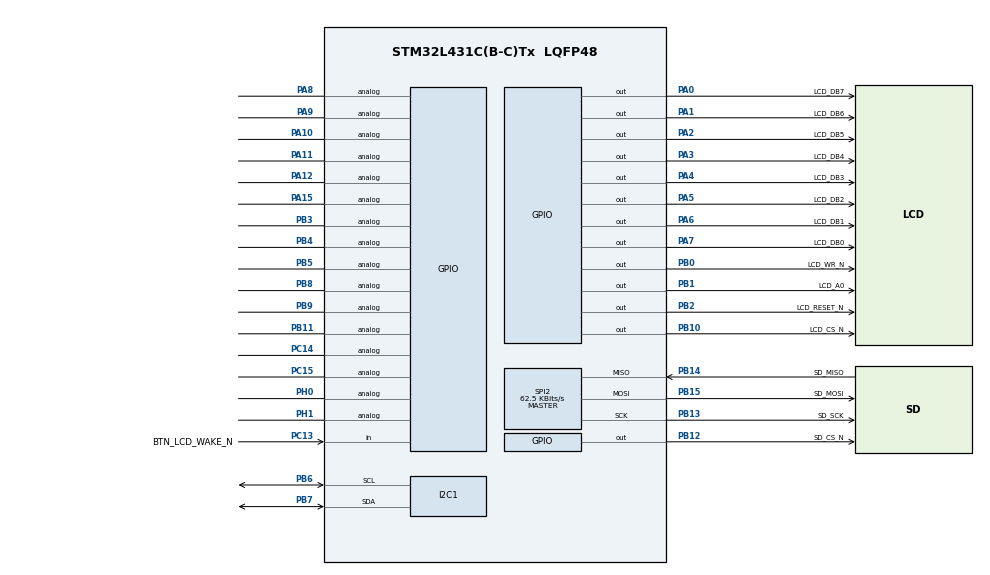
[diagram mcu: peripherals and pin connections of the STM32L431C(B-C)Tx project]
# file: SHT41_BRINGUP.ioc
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I2C1.Timing=0x00100D14
Mcu.Family=STM32L4
Mcu.Name=STM32L431C(B-C)Tx
Mcu.Package=LQFP48
NVIC.PriorityGroup=NVIC_PRIORITYGROUP_4
PA0.GPIO_Label=LCD_DB7
PA0.GPIO_ModeDefaultOutputPP=GPIO_MODE_OUTPUT_PP
PA0.Signal=GPIO_Output
PA1.GPIO_Label=LCD_DB6
PA1.Signal=GPIO_Output
PA10.Signal=GPIO_Analog
PA11.Signal=GPIO_Analog
PA12.Signal=GPIO_Analog
PA13\ (JTMS-SWDIO).Mode=Serial_Wire
PA13\ (JTMS-SWDIO).Signal=SYS_JTMS-SWDIO
PA14\ (JTCK-SWCLK).Mode=Serial_Wire
PA14\ (JTCK-SWCLK).Signal=SYS_JTCK-SWCLK
PA15\ (JTDI).Signal=GPIO_Analog
PA2.GPIO_Label=LCD_DB5
PA2.Signal=GPIO_Output
PA3.GPIO_Label=LCD_DB4
PA3.Signal=GPIO_Output
PA4.GPIO_Label=LCD_DB3
PA4.Signal=GPIO_Output
PA5.GPIO_Label=LCD_DB2
PA5.Signal=GPIO_Output
PA6.GPIO_Label=LCD_DB1
PA6.Signal=GPIO_Output
PA7.GPIO_Label=LCD_DB0
PA7.Signal=GPIO_Output
PA8.Signal=GPIO_Analog
PA9.Signal=GPIO_Analog
PB0.GPIO_Label=LCD_WR_N
PB0.PinState=GPIO_PIN_SET
PB0.Signal=GPIO_Output
PB1.GPIO_Label=LCD_A0
PB1.Signal=GPIO_Output
PB10.GPIO_Label=LCD_CS_N
PB10.PinState=GPIO_PIN_SET
PB10.Signal=GPIO_Output
PB11.Signal=GPIO_Analog
PB12.GPIO_Label=SD_CS_N
PB12.GPIO_PuPd=GPIO_PULLUP
PB12.PinState=GPIO_PIN_SET
PB12.Signal=GPIO_Output
PB13.GPIO_Label=SD_SCK
PB13.Mode=Full_Duplex_Master
PB13.Signal=SPI2_SCK
PB14.GPIO_Label=SD_MISO
PB14.GPIO_PuPd=GPIO_PULLUP
PB14.Mode=Full_Duplex_Master
PB14.Signal=SPI2_MISO
PB15.GPIO_Label=SD_MOSI
PB15.GPIO_PuPd=GPIO_PULLUP
PB15.Mode=Full_Duplex_Master
PB15.Signal=SPI2_MOSI
PB2.GPIO_Label=LCD_RESET_N
PB2.PinState=GPIO_PIN_SET
PB2.Signal=GPIO_Output
PB3\ (JTDO-TRACESWO).Signal=GPIO_Analog
PB4\ (NJTRST).Signal=GPIO_Analog
PB5.Signal=GPIO_Analog
PB6.Mode=I2C
PB6.Signal=I2C1_SCL
PB7.Mode=I2C
PB7.Signal=I2C1_SDA
PB8.Signal=GPIO_Analog
PB9.Signal=GPIO_Analog
PC13.GPIO_Label=BTN_LCD_WAKE_N
PC13.GPIO_PuPd=GPIO_PULLUP
PC13.Signal=GPIO_Input
PC14-OSC32_IN\ (PC14).Signal=GPIO_Analog
PC15-OSC32_OUT\ (PC15).Signal=GPIO_Analog
PH0-OSC_IN\ (PH0).Signal=GPIO_Analog
PH1-OSC_OUT\ (PH1).Signal=GPIO_Analog
ProjectManager.HeapSize=0x200
ProjectManager.StackSize=0x400
ProjectManager.TargetToolchain=STM32CubeIDE
RCC.HSE_VALUE=8000000
RCC.HSI48_VALUE=48000000
RCC.HSI_VALUE=16000000
RCC.LSE_VALUE=32768
RCC.MSI_VALUE=4000000
RCC.VCOOutputFreq_Value=32000000
RTC.Date=2
RTC.Month=RTC_MONTH_AUGUST
RTC.SynchPrediv=249
RTC.WeekDay=RTC_WEEKDAY_SUNDAY
SPI2.BaudRatePrescaler=SPI_BAUDRATEPRESCALER_64
SPI2.CalculateBaudRate=62.5 KBits/s
SPI2.DataSize=SPI_DATASIZE_8BIT
SPI2.Direction=SPI_DIRECTION_2LINES
SPI2.Mode=SPI_MODE_MASTER
SPI2.VirtualType=VM_MASTER
VP_FATFS_VS_Generic.Mode=User_defined
VP_RTC_VS_RTC_Activate.Mode=RTC_Enabled
VP_RTC_VS_RTC_Calendar.Mode=RTC_Calendar
board=custom

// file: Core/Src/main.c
/* USER CODE BEGIN Header */
/**
  ******************************************************************************
  * @file           : main.c
  * @brief          : Main program body
  ******************************************************************************
  */
/* USER CODE END Header */
#include "main.h"
#include "fatfs.h"

/* USER CODE BEGIN Includes */

#include <string.h>
#include <stdio.h>
#include <stdlib.h>

/* USER CODE END Includes */

/* USER CODE BEGIN PD */

#define RTC_BKP_MAGIC 0x32F2U
#define LOG_INTERVAL_MS 5000U
#define BUTTON_DEBOUNCE_MS 30U

/* USER CODE END PD */

I2C_HandleTypeDef hi2c1;

RTC_HandleTypeDef hrtc;

SPI_HandleTypeDef hspi2;

/* USER CODE BEGIN PV */

volatile FRESULT mount_res = 99;
volatile FRESULT open_res  = 99;
volatile FRESULT write_res = 99;
volatile FRESULT sync_res  = 99;
volatile FRESULT close_res = 99;
volatile uint8_t logging_enabled = 0;
volatile GPIO_PinState button_state_dbg = GPIO_PIN_SET;
volatile uint32_t button_press_count = 0;

uint32_t last_sample_ms = 0;

volatile HAL_StatusTypeDef sht_res = HAL_ERROR;
volatile int temp_x100_dbg = 0;
volatile int rh_x100_dbg = 0;
volatile uint32_t sample_count = 0;

UINT bytes_written = 0;
FIL file;

GPIO_PinState button_raw = GPIO_PIN_SET;
GPIO_PinState button_stable = GPIO_PIN_SET;
GPIO_PinState button_last_raw = GPIO_PIN_SET;

uint32_t button_change_ms = 0;

/* USER CODE END PV */

void SystemClock_Config(void);
static void MX_GPIO_Init(void);
static void MX_SPI2_Init(void);
static void MX_I2C1_Init(void);
static void MX_RTC_Init(void);
/* USER CODE BEGIN PFP */

static HAL_StatusTypeDef SHT41_Read(float *temp_c, float *rh_pct);
static void LogSampleToSD(void);

/* USER CODE END PFP */

/* USER CODE BEGIN 0 */

#define SHT41_ADDR (0x44 << 1)

static HAL_StatusTypeDef SHT41_Read(float *temp_c, float *rh_pct)
{
    uint8_t cmd = 0xFD;
    uint8_t rx[6];

    HAL_StatusTypeDef ret;

    ret = HAL_I2C_Master_Transmit(&hi2c1, SHT41_ADDR, &cmd, 1, 100);
    if (ret != HAL_OK) return ret;

    HAL_Delay(10);

    ret = HAL_I2C_Master_Receive(&hi2c1, SHT41_ADDR, rx, 6, 100);
    if (ret != HAL_OK) return ret;

    uint16_t raw_t  = ((uint16_t)rx[0] << 8) | rx[1];
    uint16_t raw_rh = ((uint16_t)rx[3] << 8) | rx[4];

    *temp_c = -45.0f + 175.0f * ((float)raw_t / 65535.0f);
    *rh_pct = -6.0f + 125.0f * ((float)raw_rh / 65535.0f);

    if (*rh_pct < 0.0f) *rh_pct = 0.0f;
    if (*rh_pct > 100.0f) *rh_pct = 100.0f;

    return HAL_OK;
}

static void LogSampleToSD(void)
{
    char line[96];
    RTC_TimeTypeDef rtc_time = {0};
    RTC_DateTypeDef rtc_date = {0};
    float temp_c = 0.0f;
    float rh_pct = 0.0f;

    sht_res = SHT41_Read(&temp_c, &rh_pct);

    if (sht_res != HAL_OK)
    {
        temp_c = -99.99f;
        rh_pct = 0.0f;
    }

    int temp_x100 = (int)(temp_c * 100.0f);
    int rh_x100   = (int)(rh_pct * 100.0f);

    temp_x100_dbg = temp_x100;
    rh_x100_dbg = rh_x100;

    HAL_RTC_GetTime(&hrtc, &rtc_time, RTC_FORMAT_BIN);
    HAL_RTC_GetDate(&hrtc, &rtc_date, RTC_FORMAT_BIN);

    snprintf(line, sizeof(line),
             "%lu,20%02u-%02u-%02u %02u:%02u:%02u,%d.%02d,%d.%02d\r\n",
             (unsigned long)sample_count++,
             rtc_date.Year, rtc_date.Month, rtc_date.Date,
             rtc_time.Hours, rtc_time.Minutes, rtc_time.Seconds,
             temp_x100 / 100, abs(temp_x100 % 100),
             rh_x100 / 100, abs(rh_x100 % 100));

    open_res = 99;
    write_res = 99;
    sync_res = 99;
    close_res = 99;
    bytes_written = 0;

    if (mount_res == FR_OK)
    {
        open_res = f_open(&file, "log.csv",
                          FA_OPEN_APPEND | FA_WRITE);

        if (open_res == FR_OK)
        {
            FRESULT header_res = FR_OK;
            UINT header_bytes = 0;

            if (f_size(&file) == 0)
            {
                const char *header =
                    "sample,timestamp,temp_C,rh_pct\r\n";

                header_res = f_write(&file,
                                     header,
                                     strlen(header),
                                     &header_bytes);
            }

            if (header_res == FR_OK)
            {
                write_res = f_write(&file,
                                    line,
                                    strlen(line),
                                    &bytes_written);

                if (write_res == FR_OK)
                {
                    sync_res = f_sync(&file);
                }
            }

            close_res = f_close(&file);
        }
    }
}

/* Keep SD/SPI command functions out of main.c.
   They belong in user_diskio.c for FatFs testing. */

/* USER CODE END 0 */

int main(void)
{

  /* MCU Configuration--------------------------------------------------------*/

  /* Reset of all peripherals, Initializes the Flash interface and the Systick. */
  HAL_Init();

  /* Configure the system clock */
  SystemClock_Config();

  /* Initialize all configured peripherals */
  MX_GPIO_Init();
  MX_SPI2_Init();
  MX_I2C1_Init();
  MX_FATFS_Init();
  MX_RTC_Init();
  /* USER CODE BEGIN 2 */

  mount_res = 99;
  open_res = 99;
  write_res = 99;
  sync_res = 99;
  close_res = 99;
  bytes_written = 0;

  f_mount(NULL, USERPath, 0);
  mount_res = f_mount(&USERFatFS, USERPath, 1);

  button_raw = HAL_GPIO_ReadPin(BTN_LCD_WAKE_N_GPIO_Port,
                               BTN_LCD_WAKE_N_Pin);

  button_stable = button_raw;
  button_last_raw = button_raw;
  button_change_ms = HAL_GetTick();

  /* Put breakpoint here */
  __NOP();

  /* USER CODE END 2 */

  /* Infinite loop */
  while (1)
  {

    /* USER CODE BEGIN 3 */

	  uint32_t now = HAL_GetTick();

	  button_raw = HAL_GPIO_ReadPin(BTN_LCD_WAKE_N_GPIO_Port,
	                               BTN_LCD_WAKE_N_Pin);

	  /* Restart debounce timer whenever the raw input changes */
	  if (button_raw != button_last_raw)
	  {
	      button_last_raw = button_raw;
	      button_change_ms = now;
	  }

	  /* Accept the state only after it remains stable */
	  if (((now - button_change_ms) >= BUTTON_DEBOUNCE_MS) &&
	      (button_raw != button_stable))
	  {
	      button_stable = button_raw;

	      /* Toggle only on the debounced press edge */
	      if (button_stable == GPIO_PIN_RESET)
	      {
	          logging_enabled ^= 1U;
	          button_press_count++;

	          if (logging_enabled)
	          {
	              LogSampleToSD();
	              last_sample_ms = now;
	          }
	      }
	  }

	  if (logging_enabled &&
	      ((now - last_sample_ms) >= LOG_INTERVAL_MS))
	  {
	      last_sample_ms = now;
	      LogSampleToSD();
	  }

	  HAL_Delay(1);

  /* USER CODE END 3 */
}
}

void SystemClock_Config(void)
{
  RCC_OscInitTypeDef RCC_OscInitStruct = {0};
  RCC_ClkInitTypeDef RCC_ClkInitStruct = {0};

  /** Configure the main internal regulator output voltage
  */
  if (HAL_PWREx_ControlVoltageScaling(PWR_REGULATOR_VOLTAGE_SCALE1) != HAL_OK)
  {
    Error_Handler();
  }

  /** Initializes the RCC Oscillators according to the specified parameters
  * in the RCC_OscInitTypeDef structure.
  */
  RCC_OscInitStruct.OscillatorType = RCC_OSCILLATORTYPE_LSI|RCC_OSCILLATORTYPE_MSI;
  RCC_OscInitStruct.LSIState = RCC_LSI_ON;
  RCC_OscInitStruct.MSIState = RCC_MSI_ON;
  RCC_OscInitStruct.MSICalibrationValue = 0;
  RCC_OscInitStruct.MSIClockRange = RCC_MSIRANGE_6;
  RCC_OscInitStruct.PLL.PLLState = RCC_PLL_NONE;
  if (HAL_RCC_OscConfig(&RCC_OscInitStruct) != HAL_OK)
  {
    Error_Handler();
  }

  /** Initializes the CPU, AHB and APB buses clocks
  */
  RCC_ClkInitStruct.ClockType = RCC_CLOCKTYPE_HCLK|RCC_CLOCKTYPE_SYSCLK
                              |RCC_CLOCKTYPE_PCLK1|RCC_CLOCKTYPE_PCLK2;
  RCC_ClkInitStruct.SYSCLKSource = RCC_SYSCLKSOURCE_MSI;
  RCC_ClkInitStruct.AHBCLKDivider = RCC_SYSCLK_DIV1;
  RCC_ClkInitStruct.APB1CLKDivider = RCC_HCLK_DIV1;
  RCC_ClkInitStruct.APB2CLKDivider = RCC_HCLK_DIV1;

  if (HAL_RCC_ClockConfig(&RCC_ClkInitStruct, FLASH_LATENCY_0) != HAL_OK)
  {
    Error_Handler();
  }
}

static void MX_I2C1_Init(void)
{

  hi2c1.Instance = I2C1;
  hi2c1.Init.Timing = 0x00100D14;
  hi2c1.Init.OwnAddress1 = 0;
  hi2c1.Init.AddressingMode = I2C_ADDRESSINGMODE_7BIT;
  hi2c1.Init.DualAddressMode = I2C_DUALADDRESS_DISABLE;
  hi2c1.Init.OwnAddress2 = 0;
  hi2c1.Init.OwnAddress2Masks = I2C_OA2_NOMASK;
  hi2c1.Init.GeneralCallMode = I2C_GENERALCALL_DISABLE;
  hi2c1.Init.NoStretchMode = I2C_NOSTRETCH_DISABLE;
  if (HAL_I2C_Init(&hi2c1) != HAL_OK)
  {
    Error_Handler();
  }

  /** Configure Analogue filter
  */
  if (HAL_I2CEx_ConfigAnalogFilter(&hi2c1, I2C_ANALOGFILTER_ENABLE) != HAL_OK)
  {
    Error_Handler();
  }

  /** Configure Digital filter
  */
  if (HAL_I2CEx_ConfigDigitalFilter(&hi2c1, 0) != HAL_OK)
  {
    Error_Handler();
  }

}

static void MX_RTC_Init(void)
{

  RTC_TimeTypeDef sTime = {0};
  RTC_DateTypeDef sDate = {0};

  /** Initialize RTC Only
  */
  hrtc.Instance = RTC;
  hrtc.Init.HourFormat = RTC_HOURFORMAT_24;
  hrtc.Init.AsynchPrediv = 127;
  hrtc.Init.SynchPrediv = 249;
  hrtc.Init.OutPut = RTC_OUTPUT_DISABLE;
  hrtc.Init.OutPutRemap = RTC_OUTPUT_REMAP_NONE;
  hrtc.Init.OutPutPolarity = RTC_OUTPUT_POLARITY_HIGH;
  hrtc.Init.OutPutType = RTC_OUTPUT_TYPE_OPENDRAIN;
  if (HAL_RTC_Init(&hrtc) != HAL_OK)
  {
    Error_Handler();
  }

  /* USER CODE BEGIN Check_RTC_BKUP */
  if (HAL_RTCEx_BKUPRead(&hrtc, RTC_BKP_DR0) != RTC_BKP_MAGIC)
  {
  /* USER CODE END Check_RTC_BKUP */

  /** Initialize RTC and set the Time and Date
  */
  sTime.Hours = 0x0;
  sTime.Minutes = 0x0;
  sTime.Seconds = 0x0;
  sTime.DayLightSaving = RTC_DAYLIGHTSAVING_NONE;
  sTime.StoreOperation = RTC_STOREOPERATION_RESET;
  if (HAL_RTC_SetTime(&hrtc, &sTime, RTC_FORMAT_BCD) != HAL_OK)
  {
    Error_Handler();
  }
  sDate.WeekDay = RTC_WEEKDAY_SUNDAY;
  sDate.Month = RTC_MONTH_AUGUST;
  sDate.Date = 0x2;
  sDate.Year = 0x26;

  if (HAL_RTC_SetDate(&hrtc, &sDate, RTC_FORMAT_BCD) != HAL_OK)
  {
    Error_Handler();
  }
  /* USER CODE BEGIN RTC_Init 2 */
      HAL_RTCEx_BKUPWrite(&hrtc, RTC_BKP_DR0, RTC_BKP_MAGIC);
  }
  /* USER CODE END RTC_Init 2 */

}

static void MX_SPI2_Init(void)
{

  /* SPI2 parameter configuration*/
  hspi2.Instance = SPI2;
  hspi2.Init.Mode = SPI_MODE_MASTER;
  hspi2.Init.Direction = SPI_DIRECTION_2LINES;
  hspi2.Init.DataSize = SPI_DATASIZE_8BIT;
  hspi2.Init.CLKPolarity = SPI_POLARITY_LOW;
  hspi2.Init.CLKPhase = SPI_PHASE_1EDGE;
  hspi2.Init.NSS = SPI_NSS_SOFT;
  hspi2.Init.BaudRatePrescaler = SPI_BAUDRATEPRESCALER_256;
  hspi2.Init.FirstBit = SPI_FIRSTBIT_MSB;
  hspi2.Init.TIMode = SPI_TIMODE_DISABLE;
  hspi2.Init.CRCCalculation = SPI_CRCCALCULATION_DISABLE;
  hspi2.Init.CRCPolynomial = 7;
  hspi2.Init.CRCLength = SPI_CRC_LENGTH_DATASIZE;
  hspi2.Init.NSSPMode = SPI_NSS_PULSE_ENABLE;
  if (HAL_SPI_Init(&hspi2) != HAL_OK)
  {
    Error_Handler();
  }

}

static void MX_GPIO_Init(void)
{
  GPIO_InitTypeDef GPIO_InitStruct = {0};

  /* GPIO Ports Clock Enable */
  __HAL_RCC_GPIOC_CLK_ENABLE();
  __HAL_RCC_GPIOH_CLK_ENABLE();
  __HAL_RCC_GPIOA_CLK_ENABLE();
  __HAL_RCC_GPIOB_CLK_ENABLE();

  /*Configure GPIO pin Output Level */
  HAL_GPIO_WritePin(GPIOA, LCD_DB7_Pin|LCD_DB6_Pin|LCD_DB5_Pin|LCD_DB4_Pin
                          |LCD_DB3_Pin|LCD_DB2_Pin|LCD_DB1_Pin|LCD_DB0_Pin, GPIO_PIN_RESET);

  /*Configure GPIO pin Output Level */
  HAL_GPIO_WritePin(GPIOB, LCD_WR_N_Pin|LCD_RESET_N_Pin|LCD_CS_N_Pin|SD_CS_N_Pin, GPIO_PIN_SET);

  /*Configure GPIO pin Output Level */
  HAL_GPIO_WritePin(LCD_A0_GPIO_Port, LCD_A0_Pin, GPIO_PIN_RESET);

  /*Configure GPIO pin : BTN_LCD_WAKE_N_Pin */
  GPIO_InitStruct.Pin = BTN_LCD_WAKE_N_Pin;
  GPIO_InitStruct.Mode = GPIO_MODE_INPUT;
  GPIO_InitStruct.Pull = GPIO_PULLUP;
  HAL_GPIO_Init(BTN_LCD_WAKE_N_GPIO_Port, &GPIO_InitStruct);

  /*Configure GPIO pins : PC14 PC15 */
  GPIO_InitStruct.Pin = GPIO_PIN_14|GPIO_PIN_15;
  GPIO_InitStruct.Mode = GPIO_MODE_ANALOG;
  GPIO_InitStruct.Pull = GPIO_NOPULL;
  HAL_GPIO_Init(GPIOC, &GPIO_InitStruct);

  /*Configure GPIO pins : PH0 PH1 */
  GPIO_InitStruct.Pin = GPIO_PIN_0|GPIO_PIN_1;
  GPIO_InitStruct.Mode = GPIO_MODE_ANALOG;
  GPIO_InitStruct.Pull = GPIO_NOPULL;
  HAL_GPIO_Init(GPIOH, &GPIO_InitStruct);

  /*Configure GPIO pins : LCD_DB7_Pin LCD_DB6_Pin LCD_DB5_Pin LCD_DB4_Pin
                           LCD_DB3_Pin LCD_DB2_Pin LCD_DB1_Pin LCD_DB0_Pin */
  GPIO_InitStruct.Pin = LCD_DB7_Pin|LCD_DB6_Pin|LCD_DB5_Pin|LCD_DB4_Pin
                          |LCD_DB3_Pin|LCD_DB2_Pin|LCD_DB1_Pin|LCD_DB0_Pin;
  GPIO_InitStruct.Mode = GPIO_MODE_OUTPUT_PP;
  GPIO_InitStruct.Pull = GPIO_NOPULL;
  GPIO_InitStruct.Speed = GPIO_SPEED_FREQ_LOW;
  HAL_GPIO_Init(GPIOA, &GPIO_InitStruct);

  /*Configure GPIO pins : LCD_WR_N_Pin LCD_A0_Pin LCD_RESET_N_Pin LCD_CS_N_Pin */
  GPIO_InitStruct.Pin = LCD_WR_N_Pin|LCD_A0_Pin|LCD_RESET_N_Pin|LCD_CS_N_Pin;
  GPIO_InitStruct.Mode = GPIO_MODE_OUTPUT_PP;
  GPIO_InitStruct.Pull = GPIO_NOPULL;
  GPIO_InitStruct.Speed = GPIO_SPEED_FREQ_LOW;
  HAL_GPIO_Init(GPIOB, &GPIO_InitStruct);

  /*Configure GPIO pins : PB11 PB3 PB4 PB5
                           PB8 PB9 */
  GPIO_InitStruct.Pin = GPIO_PIN_11|GPIO_PIN_3|GPIO_PIN_4|GPIO_PIN_5
                          |GPIO_PIN_8|GPIO_PIN_9;
  GPIO_InitStruct.Mode = GPIO_MODE_ANALOG;
  GPIO_InitStruct.Pull = GPIO_NOPULL;
  HAL_GPIO_Init(GPIOB, &GPIO_InitStruct);

  /*Configure GPIO pin : SD_CS_N_Pin */
  GPIO_InitStruct.Pin = SD_CS_N_Pin;
  GPIO_InitStruct.Mode = GPIO_MODE_OUTPUT_PP;
  GPIO_InitStruct.Pull = GPIO_PULLUP;
  GPIO_InitStruct.Speed = GPIO_SPEED_FREQ_LOW;
  HAL_GPIO_Init(SD_CS_N_GPIO_Port, &GPIO_InitStruct);

  /*Configure GPIO pins : PA8 PA9 PA10 PA11
                           PA12 PA15 */
  GPIO_InitStruct.Pin = GPIO_PIN_8|GPIO_PIN_9|GPIO_PIN_10|GPIO_PIN_11
                          |GPIO_PIN_12|GPIO_PIN_15;
  GPIO_InitStruct.Mode = GPIO_MODE_ANALOG;
  GPIO_InitStruct.Pull = GPIO_NOPULL;
  HAL_GPIO_Init(GPIOA, &GPIO_InitStruct);

}

void Error_Handler(void)
{
  __disable_irq();
  while (1)
  {
  }
}
